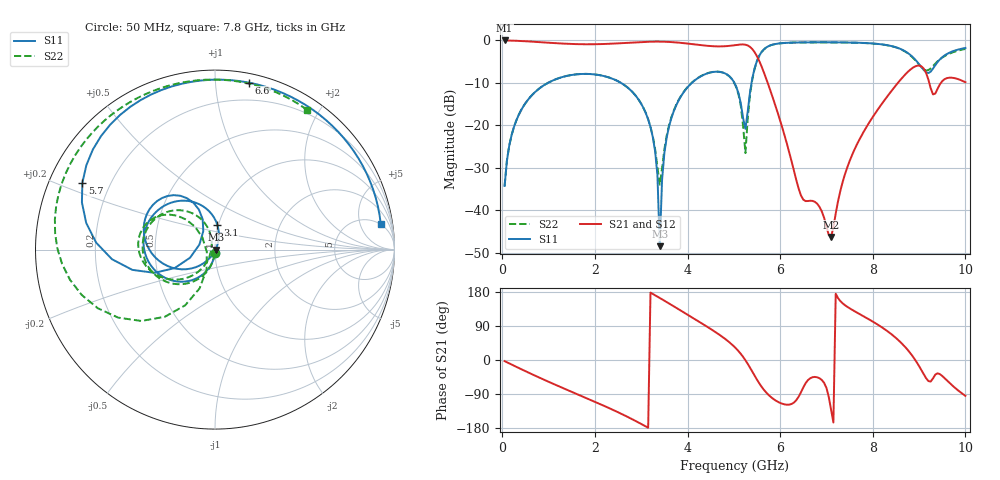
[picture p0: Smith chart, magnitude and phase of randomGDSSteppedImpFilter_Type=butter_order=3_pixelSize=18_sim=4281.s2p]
! freq	dB(S11)	phase(S11)	dB(S12)	phase(S12)
!  dB(S21)	phase(S21)	dB(S22)	phase(S22)
!S-par simulation data
#  GHz  S  DB  R 50
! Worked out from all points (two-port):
!   200 points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, 50 MHz to 10 GHz, reference 50 ohm
!   highest |S21| = -0.01 dB at 50 MHz (marker M1); lowest = -46.2 dB at 7.1 GHz (marker M2)
!   |S21| within 3 dB of the highest: start of sweep to 5.462 GHz
!   lowest |S11| = -48.4 dB at 3.4 GHz (marker M3), VSWR 1.01, Z = 50.4 - j0.0706 ohm
!   |S11| at or under -10 dB: start of sweep to 983.5 MHz; 2.564 GHz to 4.092 GHz (1.527 GHz wide, 45.9 % of centre); 5.012 GHz to 5.382 GHz (369.9 MHz wide, 7.12 % of centre)
!   |S22| runs from -34.2 to -0.5 dB; largest |S21 - S12| = 0
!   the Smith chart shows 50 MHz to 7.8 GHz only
!   S11 on the Smith chart (normalised r, x): 50 MHz: 1.00, -0.04; 3.1 GHz: 0.99, +0.28; 5.7 GHz: 0.10, +0.23; 6.6 GHz: 0.06, +1.22; 7.8 GHz: 5, +11
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0.05  -34.23 -93.1  -0.01 -3.0  -0.01 -3.0  -34.22 -92.8
0.5  -14.76 -121.3  -0.19 -29.5  -0.19 -29.5  -14.75 -118.7
1.75  -7.88 167.6  -0.90 -97.1  -0.90 -97.1  -7.87 177.3
3.1  -17.13 84.7  -0.33 -175.4  -0.33 -175.4  -17.09 109.3
3.3  -26.06 68.4  -0.28 170.8  -0.28 170.8  -25.60 110.4
3.4  -48.39 -10.6  -0.28 163.7  -0.28 163.7  -33.95 170.2
3.5  -26.48 -120.2  -0.31 156.5  -0.31 156.5  -25.61 -127.6
3.75  -15.40 -141.6  -0.46 138.2  -0.46 138.2  -15.27 -128.9
4.45  -7.67 164.0  -1.28 85.7  -1.28 85.7  -7.64 -173.8
5.05  -10.83 114.7  -1.07 30.1  -1.07 30.1  -10.97 138.1
5.25  -20.81 161.8  -1.01 -0.6  -1.01 -0.6  -26.50 -164.1
5.4  -8.83 -159.0  -2.04 -31.0  -2.04 -31.0  -9.08 -118.1
5.7  -1.65 153.3  -9.04 -85.9  -9.04 -85.9  -1.66 -168.3
6.6  -0.45 78.5  -37.77 -53.1  -37.77 -53.1  -0.46 122.3
6.7  -0.44 72.5  -37.75 -45.4  -37.75 -45.4  -0.46 116.9
7.1  -0.44 49.4  -46.21 -131.9  -46.21 -131.9  -0.46 95.8
7.8  -0.59 8.7  -21.55 115.4  -21.55 115.4  -0.61 56.6
8.35  -1.19 -29.3  -12.64 73.0  -12.64 73.0  -1.21 16.3
8.95  -4.91 -101.2  -5.97 -6.2  -5.97 -6.2  -5.05 -66.8
9.25  -7.35 137.5  -11.22 -56.8  -11.22 -56.8  -6.58 175.2
9.5  -3.95 41.8  -9.57 -42.1  -9.57 -42.1  -4.04 88.6
10  -1.77 -19.3  -9.82 -94.6  -9.82 -94.6  -2.00 22.8
